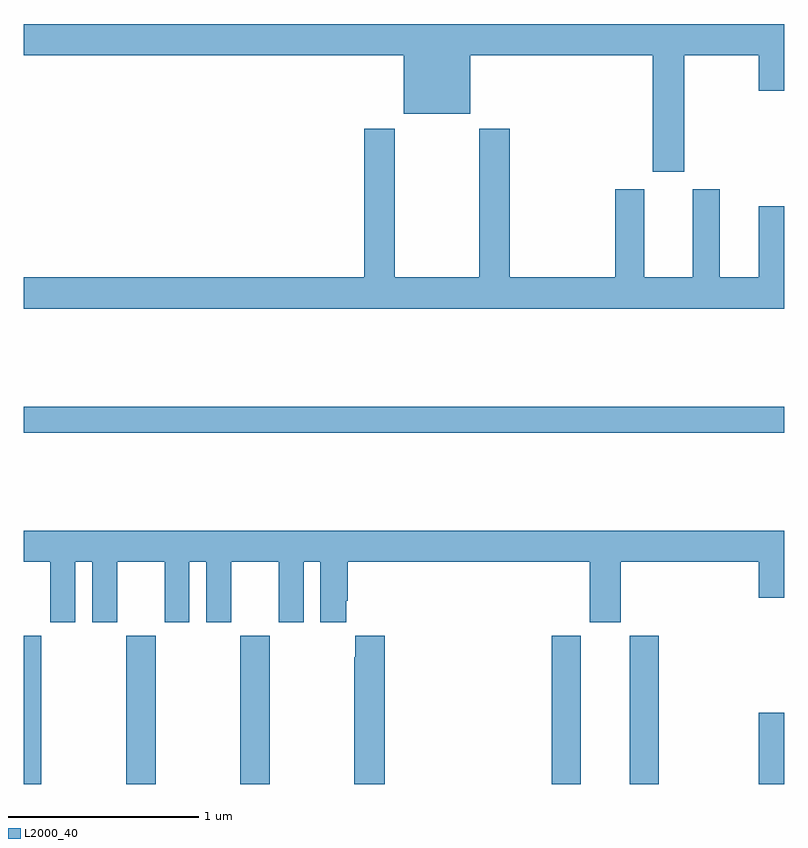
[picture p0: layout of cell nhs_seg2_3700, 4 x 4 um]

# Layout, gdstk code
import gdstk
lib = gdstk.Library(unit=1e-6, precision=1e-09)
def R(c, l, rs):  # rectangles x0, y0, x1, y1
    for r in rs: c.add(gdstk.rectangle(r[:2], r[2:], *l))
def P(c, l, *ps):  # polygons
    for p in ps: c.add(gdstk.Polygon(p, *l))
L2000_40 = (2000, 40)

nhs_seg2_3700 = lib.new_cell('nhs_seg2_3700')
R(nhs_seg2_3700, L2000_40, [(305,647.8,305.094,648.58), (305.539,647.8,305.694,648.58), (306.139,647.8,306.294,648.58), (307.778,647.8,307.93,648.579), (308.186,647.8,308.339,648.579), (308.864,647.8,309,648.175), (305,649.648,309,649.784)])
P(nhs_seg2_3700, L2000_40, [(308.473,651.632),(308.864,651.632),(308.864,651.444),(309,651.444),(309,651.796),(305,651.796),(305,651.632),(306.998,651.632),(306.998,651.323),(307.348,651.323),(307.348,651.632),(308.309,651.632),(308.309,651.018),(308.473,651.018)],
  [(309,650.839),(308.864,650.839),(308.864,650.464),(308.659,650.464),(308.659,650.926),(308.519,650.926),(308.519,650.464),(308.263,650.464),(308.263,650.926),(308.111,650.926),(308.111,650.464),(307.556,650.464),(307.556,651.244),(307.396,651.244),(307.396,650.464),(306.951,650.464),(306.951,651.244),(306.791,651.244),(306.791,650.464),(305,650.464),(305,650.3),(309,650.3)],
  [(305.272,648.968),(305.36,648.968),(305.36,648.651),(305.491,648.651),(305.491,648.968),(305.741,648.968),(305.741,648.651),(305.872,648.651),(305.872,648.968),(305.96,648.968),(305.96,648.651),(306.091,648.651),(306.091,648.968),(306.341,648.968),(306.341,648.651),(306.472,648.651),(306.472,648.968),(306.56,648.968),(306.56,648.651),(306.697,648.651),(306.697,648.763),(306.704,648.763),(306.704,648.968),(307.976,648.968),(307.976,648.651),(308.14,648.651),(308.14,648.968),(308.864,648.968),(308.864,648.78),(309,648.78),(309,649.132),(305,649.132),(305,648.968),(305.141,648.968),(305.141,648.651),(305.272,648.651)],
  [(306.899,648.58),(306.743,648.58),(306.743,648.467),(306.739,648.467),(306.739,647.8),(306.899,647.8)])

lib.write_gds('nhs_seg2_3700.gds')
